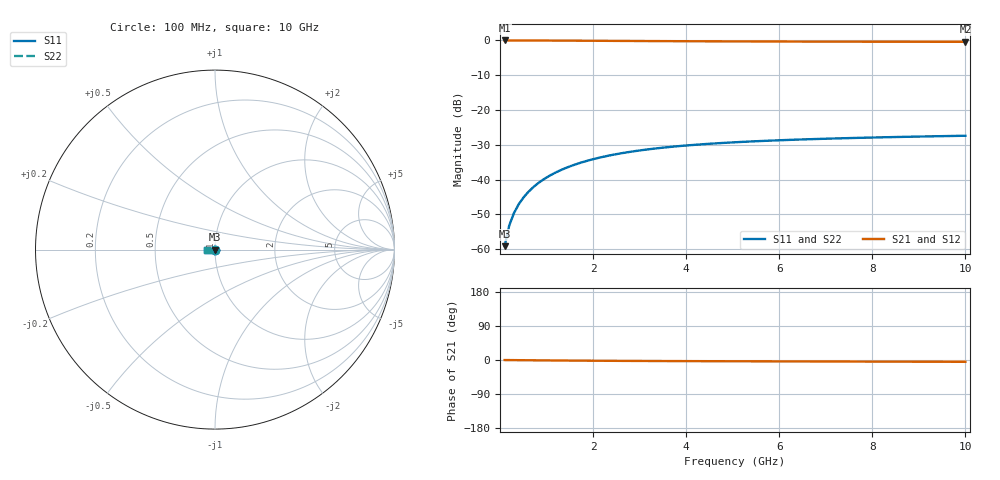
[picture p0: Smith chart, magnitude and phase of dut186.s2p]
! Touchstone file exported from HFSS 2024.1.0
!  File:  C:/UserFiles/LocalFiles/RDL_TSV_Batchsim/temp_TSV1_186_1779384513.aedt
!  Generated:  01:36:44 AM May 22, 2026
!  Design:  TSV1
!  Project:  temp_TSV1_186_1779384513
!  Setup:  Setup1
!  Solution:  Sweep
! Variables:
!  dtsv = 9.55um
!  hbump = 3um
!  htsv = 74.54um
!  lrdl = 252.1521522um
!  p = 40
!  p1 = 45.52um
!  t = 500um
!  trdl = 3um
!  wrdl = 24.89489489um
# GHz S MA R 50.000000
! Terminal data exported
! Port[1] = TSV22_T1
! Port[2] = TSV22_T2
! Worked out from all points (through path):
!   100 points, 100 MHz to 10 GHz, reference 50 ohm
!   highest |S21| = 0.00 dB at 100 MHz (marker M1); lowest = -0.4 dB at 10 GHz (marker M2)
!   lowest |S11| = -59.1 dB at 100 MHz (marker M3), VSWR 1.00, Z = 50 - j0.11 ohm
!   |S11| at or under -10 dB: start of sweep to end of sweep
!   |S22| runs from -59.1 to -27.4 dB; largest |S21 - S12| = 4e-15
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0.1  0.001107 -83.7  0.9998 -0.1  0.9998 -0.1  0.001107 -83.7
! Gamma 0 0 0 0
! Port Impedance 50 0 50 0
0.2  0.002201 -89.1  0.9997 -0.2  0.9997 -0.2  0.002201 -89.1
0.3  0.003299 -92.1  0.9995 -0.3  0.9995 -0.3  0.003299 -92.1
0.4  0.004394 -94.4  0.9993 -0.4  0.9993 -0.4  0.004394 -94.4
0.5  0.005482 -96.5  0.999 -0.6  0.999 -0.6  0.005482 -96.5
0.6  0.006559 -98.4  0.9986 -0.7  0.9986 -0.7  0.006559 -98.4
0.7  0.007624 -100.3  0.9982 -0.8  0.9982 -0.8  0.007624 -100.3
0.8  0.008673 -102.1  0.9977 -0.9  0.9977 -0.9  0.008673 -102.1
0.9  0.009706 -103.8  0.9972 -1.0  0.9972 -1.0  0.009706 -103.8
1.1  0.01172 -107.2  0.9961 -1.2  0.9961 -1.2  0.01172 -107.2
1.4  0.01457 -112.0  0.9941 -1.4  0.9941 -1.4  0.01457 -112.0
1.6  0.01637 -115.0  0.9926 -1.6  0.9926 -1.6  0.01637 -115.0
1.8  0.01806 -118.0  0.9911 -1.8  0.9911 -1.8  0.01806 -118.0
2.1  0.02042 -122.1  0.9887 -2.0  0.9887 -2.0  0.02042 -122.1
2.5  0.02324 -127.3  0.9855 -2.2  0.9855 -2.2  0.02324 -127.3
2.9  0.02569 -132.0  0.9824 -2.5  0.9824 -2.5  0.02569 -132.0
3.4  0.02833 -137.4  0.9787 -2.7  0.9787 -2.7  0.02832 -137.4
4.2  0.0317 -144.8  0.9736 -3.0  0.9736 -3.0  0.0317 -144.8
5.1  0.03458 -151.9  0.9689 -3.3  0.9689 -3.3  0.03458 -151.9
6.7  0.03818 -162.0  0.9628 -3.8  0.9628 -3.8  0.03818 -162.0
8.4  0.04082 -170.6  0.9585 -4.3  0.9585 -4.3  0.04082 -170.6
10  0.04272 -177.3  0.9556 -4.8  0.9556 -4.8  0.04272 -177.3
